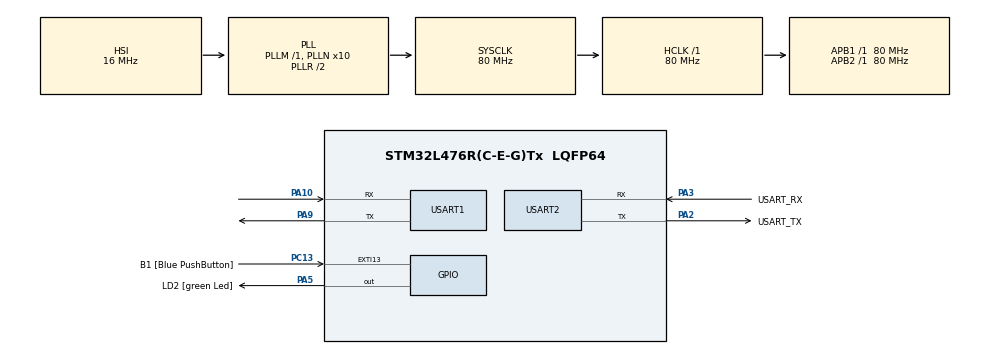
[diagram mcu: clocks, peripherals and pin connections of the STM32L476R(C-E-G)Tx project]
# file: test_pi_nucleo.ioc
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Mcu.Family=STM32L4
Mcu.Name=STM32L476R(C-E-G)Tx
Mcu.Package=LQFP64
NVIC.PriorityGroup=NVIC_PRIORITYGROUP_4
NVIC.USART1_IRQn=true\:1\:0\:true\:false\:true\:true\:true\:true
PA10.Mode=Asynchronous
PA10.Signal=USART1_RX
PA13\ (JTMS-SWDIO).GPIO_Label=TMS
PA13\ (JTMS-SWDIO).Mode=Serial_Wire
PA13\ (JTMS-SWDIO).Signal=SYS_JTMS-SWDIO
PA14\ (JTCK-SWCLK).GPIO_Label=TCK
PA14\ (JTCK-SWCLK).Mode=Serial_Wire
PA14\ (JTCK-SWCLK).Signal=SYS_JTCK-SWCLK
PA2.GPIO_Label=USART_TX
PA2.GPIO_Mode=GPIO_MODE_AF_PP
PA2.GPIO_PuPd=GPIO_NOPULL
PA2.GPIO_Speed=GPIO_SPEED_FREQ_VERY_HIGH
PA2.Mode=Asynchronous
PA2.Signal=USART2_TX
PA3.GPIO_Label=USART_RX
PA3.GPIO_Mode=GPIO_MODE_AF_PP
PA3.GPIO_PuPd=GPIO_NOPULL
PA3.GPIO_Speed=GPIO_SPEED_FREQ_VERY_HIGH
PA3.Mode=Asynchronous
PA3.Signal=USART2_RX
PA5.GPIO_Label=LD2 [green Led]
PA5.GPIO_ModeDefaultOutputPP=GPIO_MODE_OUTPUT_PP
PA5.GPIO_PuPd=GPIO_NOPULL
PA5.GPIO_Speed=GPIO_SPEED_FREQ_LOW
PA5.Signal=GPIO_Output
PA9.Mode=Asynchronous
PA9.Signal=USART1_TX
PB3\ (JTDO-TRACESWO).GPIO_Label=SWO
PB3\ (JTDO-TRACESWO).Signal=SYS_JTDO-SWO
PC13.GPIO_Label=B1 [Blue PushButton]
PC13.GPIO_ModeDefaultEXTI=GPIO_MODE_IT_FALLING
PC13.GPIO_PuPd=GPIO_NOPULL
PC13.Signal=GPXTI13
PC14-OSC32_IN\ (PC14).Mode=LSE-External-Oscillator
PC14-OSC32_IN\ (PC14).Signal=RCC_OSC32_IN
PC15-OSC32_OUT\ (PC15).Mode=LSE-External-Oscillator
PC15-OSC32_OUT\ (PC15).Signal=RCC_OSC32_OUT
PH0-OSC_IN\ (PH0).Signal=RCC_OSC_IN
PH1-OSC_OUT\ (PH1).Signal=RCC_OSC_OUT
ProjectManager.HeapSize=0x200
ProjectManager.StackSize=0x400
ProjectManager.TargetToolchain=CMake
RCC.ADCFreq_Value=64000000
RCC.AHBFreq_Value=80000000
RCC.APB1Freq_Value=80000000
RCC.APB1TimFreq_Value=80000000
RCC.APB2Freq_Value=80000000
RCC.APB2TimFreq_Value=80000000
RCC.CortexFreq_Value=80000000
RCC.HCLKFreq_Value=80000000
RCC.HSE_VALUE=8000000
RCC.HSI_VALUE=16000000
RCC.MSI_VALUE=4000000
RCC.PLLN=10
RCC.PLLSourceVirtual=RCC_PLLSOURCE_HSI
RCC.PREFETCH_ENABLE=1
RCC.SYSCLKFreq_VALUE=80000000
RCC.SYSCLKSource=RCC_SYSCLKSOURCE_PLLCLK
RCC.USBFreq_Value=64000000
RCC.VCOOutputFreq_Value=160000000
USART1.VirtualMode-Asynchronous=VM_ASYNC
USART2.VirtualMode-Asynchronous=VM_ASYNC
board=NUCLEO-L476RG

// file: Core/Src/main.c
/* USER CODE BEGIN Header */
/**
  ******************************************************************************
  * @file           : main.c
  * @brief          : Main program body
  ******************************************************************************
  * @attention
  *
  * Copyright (c) 2026 STMicroelectronics.
  * All rights reserved.
  *
  * This software is licensed under terms that can be found in the LICENSE file
  * in the root directory of this software component.
  * If no LICENSE file comes with this software, it is provided AS-IS.
  *
  ******************************************************************************
  */
/* USER CODE END Header */
#include "main.h"
#include "stm32l4xx_hal_gpio.h"
#include "stm32l4xx_hal_uart.h"
#include "usart.h"
#include "gpio.h"
#include <stdint.h>
#include <stdio.h>
#include <string.h>

/* USER CODE BEGIN PD */
#define GET_DATE_CMD 0x00
#define TAKE_SCREENSHOT_CMD 0x01
#define KILL_PROGRAM_CMD 0xff

#define RX_DATE_HEADER 0xAA
#define RX_COLOR_RESULT_HEADER 0xBB
#define RX_DATE_SIZE 2
#define RX_COLOR_RESULT_SIZE 1024
#define RX_WAITING 0
#define RX_DATE 1
#define RX_COLOR_RESULT 2
/* USER CODE END PD */

/* USER CODE BEGIN PV */
uint8_t rx_byte;
uint8_t rx_state = RX_WAITING;
uint8_t rx_data_index = 0;
uint8_t rx_date_data[RX_DATE_SIZE];

char *day_names[] = {"Monday", "Tuesday",  "Wednesday", "Thursday",
                     "Friday", "Saturday", "Sunday"};
int day_number;
/* USER CODE END PV */

void SystemClock_Config(void);

int main(void)
{

  /* MCU Configuration--------------------------------------------------------*/

  /* Reset of all peripherals, Initializes the Flash interface and the Systick. */
  HAL_Init();

  /* Configure the system clock */
  SystemClock_Config();

  /* Initialize all configured peripherals */
  MX_GPIO_Init();
  MX_USART2_UART_Init();
  MX_USART1_UART_Init();
  /* USER CODE BEGIN 2 */
  HAL_UART_Receive_IT(&huart1, &rx_byte, 1);
  /* USER CODE END 2 */

  /* Infinite loop */
  /* USER CODE BEGIN WHILE */
  while (1)
  {
    if (HAL_GPIO_ReadPin(GPIOC, GPIO_PIN_13) == GPIO_PIN_RESET)
    {
      HAL_GPIO_WritePin(LD2_GPIO_Port, LD2_Pin, GPIO_PIN_SET);
      uint8_t tx_byte = GET_DATE_CMD;
      HAL_UART_Transmit(&huart1, &tx_byte, 1, HAL_MAX_DELAY);
      HAL_Delay(500);
    }
    HAL_GPIO_WritePin(LD2_GPIO_Port, LD2_Pin, GPIO_PIN_RESET);

    /* USER CODE END WHILE */

  }
}

void SystemClock_Config(void)
{
  RCC_OscInitTypeDef RCC_OscInitStruct = {0};
  RCC_ClkInitTypeDef RCC_ClkInitStruct = {0};

  /** Configure the main internal regulator output voltage
  */
  if (HAL_PWREx_ControlVoltageScaling(PWR_REGULATOR_VOLTAGE_SCALE1) != HAL_OK)
  {
    Error_Handler();
  }

  /** Initializes the RCC Oscillators according to the specified parameters
  * in the RCC_OscInitTypeDef structure.
  */
  RCC_OscInitStruct.OscillatorType = RCC_OSCILLATORTYPE_HSI;
  RCC_OscInitStruct.HSIState = RCC_HSI_ON;
  RCC_OscInitStruct.HSICalibrationValue = RCC_HSICALIBRATION_DEFAULT;
  RCC_OscInitStruct.PLL.PLLState = RCC_PLL_ON;
  RCC_OscInitStruct.PLL.PLLSource = RCC_PLLSOURCE_HSI;
  RCC_OscInitStruct.PLL.PLLM = 1;
  RCC_OscInitStruct.PLL.PLLN = 10;
  RCC_OscInitStruct.PLL.PLLP = RCC_PLLP_DIV7;
  RCC_OscInitStruct.PLL.PLLQ = RCC_PLLQ_DIV2;
  RCC_OscInitStruct.PLL.PLLR = RCC_PLLR_DIV2;
  if (HAL_RCC_OscConfig(&RCC_OscInitStruct) != HAL_OK)
  {
    Error_Handler();
  }

  /** Initializes the CPU, AHB and APB buses clocks
  */
  RCC_ClkInitStruct.ClockType = RCC_CLOCKTYPE_HCLK|RCC_CLOCKTYPE_SYSCLK
                              |RCC_CLOCKTYPE_PCLK1|RCC_CLOCKTYPE_PCLK2;
  RCC_ClkInitStruct.SYSCLKSource = RCC_SYSCLKSOURCE_PLLCLK;
  RCC_ClkInitStruct.AHBCLKDivider = RCC_SYSCLK_DIV1;
  RCC_ClkInitStruct.APB1CLKDivider = RCC_HCLK_DIV1;
  RCC_ClkInitStruct.APB2CLKDivider = RCC_HCLK_DIV1;

  if (HAL_RCC_ClockConfig(&RCC_ClkInitStruct, FLASH_LATENCY_4) != HAL_OK)
  {
    Error_Handler();
  }
}

/* USER CODE BEGIN 4 */
void HAL_UART_RxCpltCallback(UART_HandleTypeDef *huart)
{
  if (huart->Instance == USART1) {
    switch(rx_state) {
      case RX_WAITING:
        if (rx_byte == RX_DATE_HEADER) {
          rx_state = RX_DATE;
        }
        else if (rx_byte == RX_COLOR_RESULT_HEADER) {
          rx_state = RX_COLOR_RESULT;
        }
        break;

      case RX_DATE:
        rx_date_data[rx_data_index++] = rx_byte;
        if (rx_data_index >= RX_DATE_SIZE) {
          char *day_name = day_names[rx_date_data[0]];
          day_number = rx_date_data[1];
          char buf[50];
          snprintf(buf, sizeof(buf), "Received date: %s the %dth\n\r", day_name, day_number);
          HAL_UART_Transmit(&huart2, (uint8_t*)buf, strlen(buf), 10);
          rx_data_index = 0;
          rx_state = RX_WAITING;
        }
        break;

      case RX_COLOR_RESULT:
        // Process color result data in rx_buffer
        rx_state = RX_WAITING;
        break;
    }
    HAL_UART_Receive_IT(&huart1, &rx_byte, 1);
  }
}
/* USER CODE END 4 */

void Error_Handler(void)
{
  __disable_irq();
  while (1)
  {
  }
}
